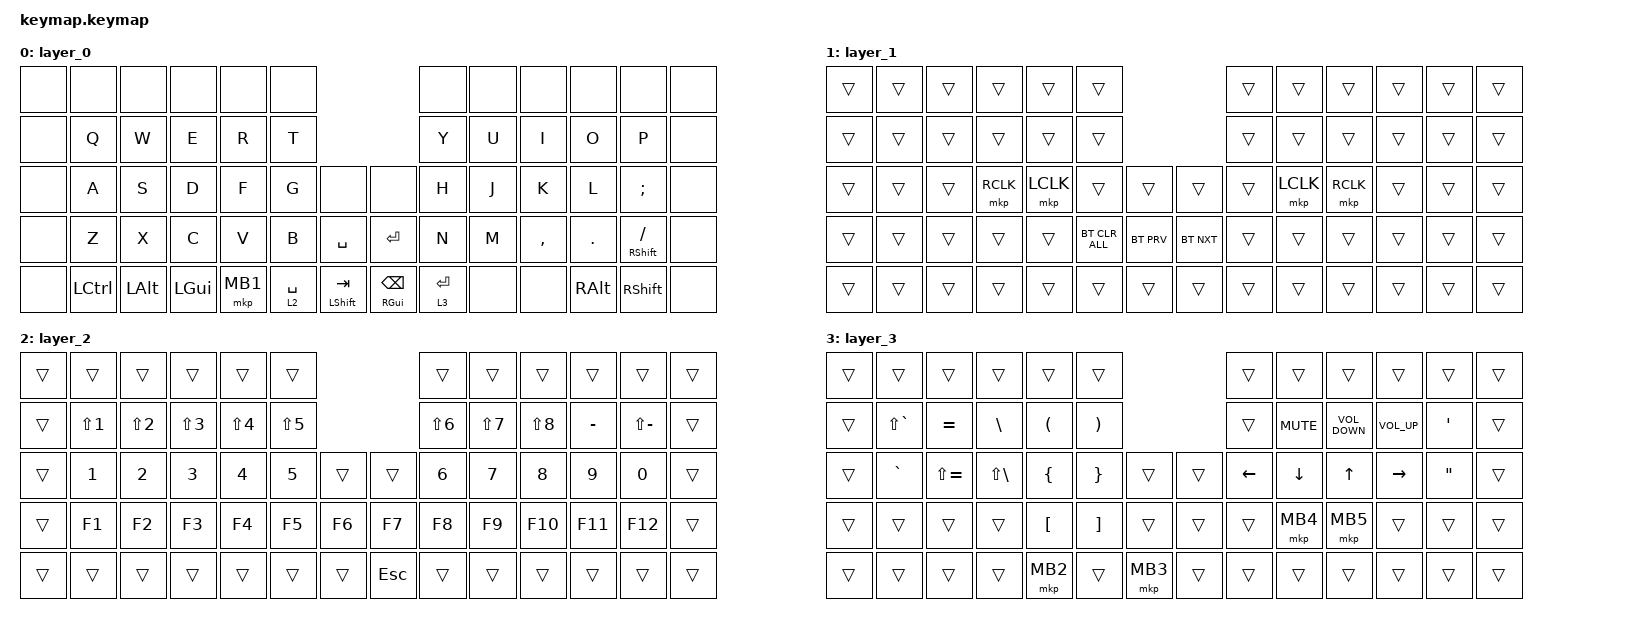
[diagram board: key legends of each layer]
#include <behaviors.dtsi>
#include <dt-bindings/zmk/bt.h>
#include <dt-bindings/zmk/keys.h>
#include <dt-bindings/zmk/pointing.h>

&lt {
    quick-tap-ms = <200>;
    require-prior-idle-ms = <150>;
};

&mt { quick-tap-ms = <200>; };

/ {
    combos {
        compatible = "zmk,combos";

        bt_clear {
            bindings = <&bt BT_CLR>;
            key-positions = <28 29>;
            layers = <2>;
        };
    };

    keymap {
        compatible = "zmk,keymap";

        layer_0 {
            bindings = <
&none  &none      &none         &none         &none     &none                                                     &none        &none  &none      &none          &none                 &none
&none  &kp Q      &kp W         &kp E         &kp R     &kp T                                                     &kp Y        &kp U  &kp I      &kp O          &kp P                 &none
&none  &kp A      &kp S         &kp D         &kp F     &kp G        &none               &none                    &kp H        &kp J  &kp K      &kp L          &kp SEMI              &none
&none  &kp Z      &kp X         &kp C         &kp V     &kp B        &kp SPACE           &kp RET                  &kp N        &kp M  &kp COMMA  &kp DOT        &mt RIGHT_SHIFT FSLH  &none
&none  &kp LCTRL  &kp LEFT_ALT  &kp LEFT_GUI  &mkp MB1  &lt 2 SPACE  &mt LEFT_SHIFT TAB  &mt RIGHT_GUI BACKSPACE  &lt 3 ENTER  &none  &none      &kp RIGHT_ALT  &kp RIGHT_SHIFT       &none
            >;
        };

        layer_1 {
            bindings = <
&trans  &trans  &trans  &trans     &trans     &trans                                  &trans  &trans     &trans     &trans  &trans  &trans
&trans  &trans  &trans  &trans     &trans     &trans                                  &trans  &trans     &trans     &trans  &trans  &trans
&trans  &trans  &trans  &mkp RCLK  &mkp LCLK  &trans          &trans      &trans      &trans  &mkp LCLK  &mkp RCLK  &trans  &trans  &trans
&trans  &trans  &trans  &trans     &trans     &bt BT_CLR_ALL  &bt BT_PRV  &bt BT_NXT  &trans  &trans     &trans     &trans  &trans  &trans
&trans  &trans  &trans  &trans     &trans     &trans          &trans      &trans      &trans  &trans     &trans     &trans  &trans  &trans
            >;
        };

        layer_2 {
            bindings = <
&trans  &trans            &trans            &trans      &trans      &trans                          &trans        &trans      &trans      &trans     &trans         &trans
&trans  &kp LS(NUMBER_1)  &kp LS(NUMBER_2)  &kp LS(N3)  &kp LS(N4)  &kp LS(N5)                      &kp LS(N6)    &kp LS(N7)  &kp LS(N8)  &kp MINUS  &kp LS(MINUS)  &trans
&trans  &kp N1            &kp N2            &kp N3      &kp N4      &kp N5      &trans  &trans      &kp NUMBER_6  &kp N7      &kp N8      &kp N9     &kp N0         &trans
&trans  &kp F1            &kp F2            &kp F3      &kp F4      &kp F5      &kp F6  &kp F7      &kp F8        &kp F9      &kp F10     &kp F11    &kp F12        &trans
&trans  &trans            &trans            &trans      &trans      &trans      &trans  &kp ESCAPE  &trans        &trans      &trans      &trans     &trans         &trans
            >;
        };

        layer_3 {
            bindings = <
&trans  &trans         &trans         &trans             &trans                &trans                                   &trans    &trans      &trans             &trans           &trans             &trans
&trans  &kp LS(GRAVE)  &kp EQUAL      &kp BACKSLASH      &kp LEFT_PARENTHESIS  &kp RIGHT_PARENTHESIS                    &trans    &kp K_MUTE  &kp C_VOLUME_DOWN  &kp C_VOLUME_UP  &kp SINGLE_QUOTE   &trans
&trans  &kp GRAVE      &kp LS(EQUAL)  &kp LS(BACKSLASH)  &kp LEFT_BRACE        &kp RIGHT_BRACE        &trans    &trans  &kp LEFT  &kp DOWN    &kp UP_ARROW       &kp RIGHT        &kp DOUBLE_QUOTES  &trans
&trans  &trans         &trans         &trans             &kp LEFT_BRACKET      &kp RIGHT_BRACKET      &trans    &trans  &trans    &mkp MB4    &mkp MB5           &trans           &trans             &trans
&trans  &trans         &trans         &trans             &mkp MB2              &trans                 &mkp MB3  &trans  &trans    &trans      &trans             &trans           &trans             &trans
            >;
        };
    };
};
